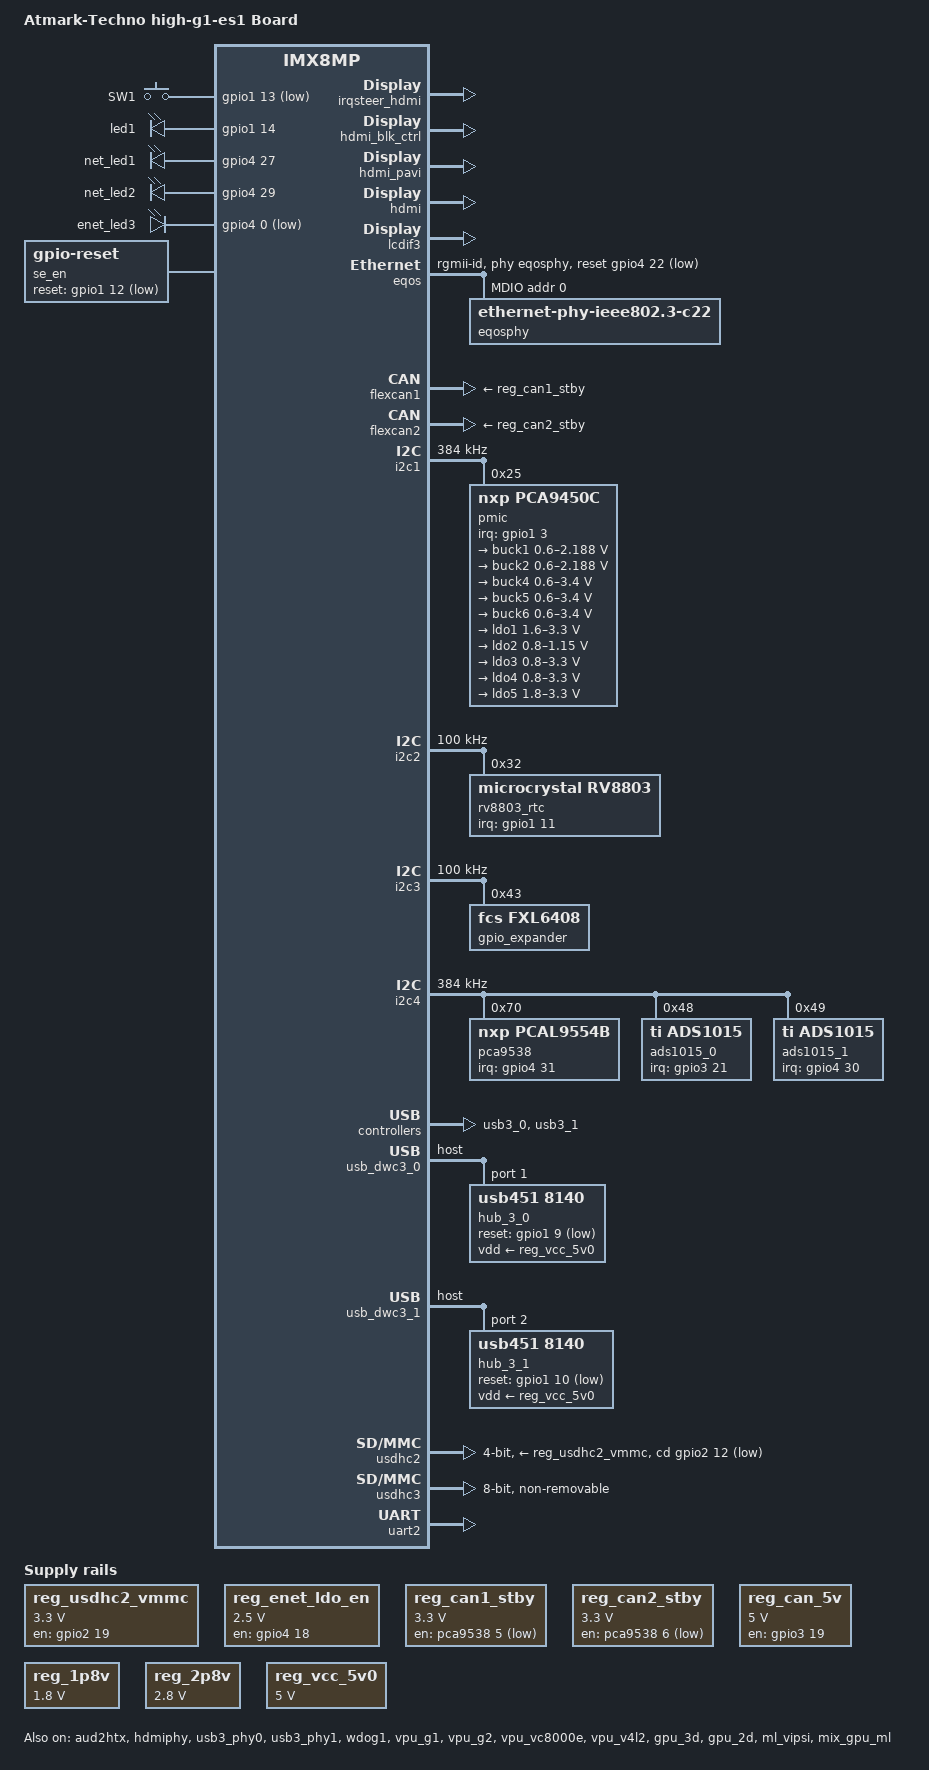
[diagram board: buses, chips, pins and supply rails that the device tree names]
// SPDX-License-Identifier: (GPL-2.0 OR MIT)
/*
 * Copyright (C) 2024 Atmark Techno, Inc. All Rights Reserved.
 */

/dts-v1/;

#include <dt-bindings/usb/pd.h>
#include <dt-bindings/net/micrel-ksz9131.h>
#include "imx8mp.dtsi"

/ {
	model = "Atmark-Techno high-g1-es1 Board";
	compatible = "atmark,high-g1-es1", "fsl,imx8mp";

	chosen {
		stdout-path = &uart2;
	};

	aliases {
		rtc0 = &rv8803_rtc;
		rtc1 = &snvs_rtc;
	};

	reg_usdhc2_vmmc: regulator-usdhc2 {
		compatible = "regulator-fixed";
		pinctrl-names = "default";
		pinctrl-0 = <&pinctrl_reg_usdhc2_vmmc>;
		regulator-name = "VSD_3V3";
		regulator-min-microvolt = <3300000>;
		regulator-max-microvolt = <3300000>;
		// ??? voltage-ranges = <1800 1800 3300 3300>;
		gpio = <&gpio2 19 GPIO_ACTIVE_HIGH>;
		enable-active-high;
		regulator-always-on;
		off-on-delay-us = <100000>;
	};

	reg_enet_ldo_en: regulator-enet-ldo-en {
		compatible = "regulator-fixed";
		pinctrl-names = "default";
		pinctrl-0 = <&pinctrl_reg_enet_ldo_en>;
		regulator-name = "ENET_LDO_EN";
		/* One GPIO controls three regulators(1.2V, 1.8V, 2.5V) */
		regulator-min-microvolt = <2500000>;
		regulator-max-microvolt = <2500000>;
		gpio = <&gpio4 18 GPIO_ACTIVE_HIGH>;
		enable-active-high;
		regulator-always-on;
	};

	reg_can1_stby: regulator-can1-stby {
		compatible = "regulator-fixed";
		regulator-name = "can1-stby";
		regulator-min-microvolt = <3300000>;
		regulator-max-microvolt = <3300000>;
		gpio = <&pca9538 5 GPIO_ACTIVE_LOW>;
	};

	reg_can2_stby: regulator-can2-stby {
		compatible = "regulator-fixed";
		regulator-name = "can2-stby";
		regulator-min-microvolt = <3300000>;
		regulator-max-microvolt = <3300000>;
		gpio = <&pca9538 6 GPIO_ACTIVE_LOW>;
	};

	reg_can_5v: regulator-can-5v {
		compatible = "regulator-fixed";
		pinctrl-names = "default";
		pinctrl-0 = <&pinctrl_reg_can_5v>;
		regulator-name = "can-5v";
		regulator-min-microvolt = <5000000>;
		regulator-max-microvolt = <5000000>;
		gpio = <&gpio3 19 GPIO_ACTIVE_HIGH>;
		enable-active-high;
		regulator-always-on;
	};

	reg_1p8v: regulator-1p8v {
		compatible = "regulator-fixed";
		regulator-name = "1P8V";
		regulator-min-microvolt = <1800000>;
		regulator-max-microvolt = <1800000>;
		regulator-always-on;
	};

	reg_2p8v: regulator-2p8v {
		compatible = "regulator-fixed";
		regulator-name = "2P8V";
		regulator-min-microvolt = <2800000>;
		regulator-max-microvolt = <2800000>;
		regulator-always-on;
	};

	reg_vcc_5v0: regulator-5v0 {
		compatible = "regulator-fixed";
		regulator-name = "VCC_5V0";
		regulator-min-microvolt = <5000000>;
		regulator-max-microvolt = <5000000>;
		regulator-always-on;
	};

	sound-hdmi {
		compatible = "fsl,imx-audio-cdnhdmi";
		model = "audio-hdmi";
		audio-cpu = <&aud2htx>;
		hdmi-out;
		constraint-rate = <44100>,
				<88200>,
				<176400>,
				<32000>,
				<48000>,
				<96000>,
				<192000>;
		status = "okay";
	};

	gpio-keys {
		compatible = "gpio-keys";
		pinctrl-names = "default";
		pinctrl-0 = <&pinctrl_gpio_keys>;

		gpio_keys_sw1: sw1 {
			label = "SW1";
			gpios = <&gpio1 13 GPIO_ACTIVE_LOW>;
			linux,code = <KEY_PROG1>;
		};
	};

	leds {
		compatible = "gpio-leds";
		pinctrl-names = "default";
		pinctrl-0 = <&pinctrl_gpio_leds>;

		led1 {
			label = "led1";
			gpios = <&gpio1 14 GPIO_ACTIVE_HIGH>;
			default-state = "on";
		};

		net_led1 {
			label = "net_led1";
			gpios = <&gpio4 27 GPIO_ACTIVE_HIGH>;
			default-state = "off";
		};

		net_led2 {
			label = "net_led2";
			gpios = <&gpio4 29 GPIO_ACTIVE_HIGH>;
			default-state = "off";
		};

		enet_led3 {
			label = "enet_led3";
			gpios = <&gpio4 0 GPIO_ACTIVE_LOW>;
			linux,default-trigger = "stmmac-1:03:1Gbps";
		};
	};

	resmem: reserved-memory {
		linux,cma {
			size = <0 0x40000000>;
			alloc-ranges = <0 0x40000000 0 0xbfffffff>;
		};
	};

	moal-params {
		host_mlme = <0x1>;
		// disable power savings
		ps_mode = <0x2>;
		auto_ds = <0x2>;
		// disable wifi direct, untested
		drv_mode = <0x3>;
		// disable mac-1 to fit power budget
		mac-1 {
			drv_mode = <0x0>;
		};

	};

	se_en: se-enable {
		compatible = "gpio-reset";
		pinctrl-names = "default";
		pinctrl-0 = <&pinctrl_se_enable>;
		reset-gpios = <&gpio1 12 GPIO_ACTIVE_LOW>;
		reset-assert-in-suspend;
	};
};

&aud2htx {
	status = "okay";
};

&irqsteer_hdmi {
	status = "okay";
};

&hdmi_blk_ctrl {
	status = "okay";
};

&hdmi_pavi {
	status = "okay";
};

&hdmi {
	status = "okay";
};

&hdmiphy {
	status = "okay";
};

&lcdif3 {
	status = "okay";

	thres-low  = <1 2>;		/* (FIFO * 1 / 2) */
	thres-high = <3 4>;		/* (FIFO * 3 / 4) */
};

&eqos {
	pinctrl-names = "default", "sleep";
	pinctrl-0 = <&pinctrl_eqos>;
	pinctrl-1 = <&pinctrl_eqos_sleep>;
	phy-mode = "rgmii-id";
	phy-handle = <&eqosphy>;
	snps,reset-gpio = <&gpio4 22 GPIO_ACTIVE_LOW>;
	snps,reset-active-low;
	snps,reset-delays-us = <0 15000 150000>; // hold reset 15ms and wait 150ms after reset for reinit
	st,disable_dma_vlhash = <1>;
	status = "okay";

	mdio {
		compatible = "snps,dwmac-mdio";
		#address-cells = <1>;
		#size-cells = <0>;
		eqosphy: eqos-phy@0 {
			compatible = "ethernet-phy-ieee802.3-c22";
			eee-broken-1000t;
			eee-broken-100tx;
			reg = <0>;

			/* marvell,reg-init = <reg-page reg mask value>; */
			marvell,reg-init =
				<3 16 0xff00 0x73>,
				<3 17 0xfff0 0xa>,
				<18 20 0xfff8 0x0>;
		};
	};
};

&flexcan1 {
	pinctrl-names = "default";
	pinctrl-0 = <&pinctrl_flexcan1>;
	xceiver-supply = <&reg_can1_stby>;
	status = "okay";
};

&flexcan2 {
	pinctrl-names = "default";
	pinctrl-0 = <&pinctrl_flexcan2>;
	xceiver-supply = <&reg_can2_stby>;
	status = "okay";
};

&i2c1 {
	clock-frequency = <384000>;
	pinctrl-names = "default";
	pinctrl-0 = <&pinctrl_i2c1>;
	status = "okay";

	pmic: pca9450@25 {
		reg = <0x25>;
		compatible = "nxp,pca9450c";
		/* PMIC PCA9450 PMIC_nINT GPIO1_IO3 */
		pinctrl-0 = <&pinctrl_pmic>;
		interrupt-parent = <&gpio1>;
		interrupts = <3 GPIO_ACTIVE_LOW>;

		regulators {
			buck1: BUCK1 {
				regulator-name = "BUCK1";
				regulator-min-microvolt = <600000>;
				regulator-max-microvolt = <2187500>;
				regulator-boot-on;
				regulator-always-on;
				regulator-ramp-delay = <3125>;
			};

			buck2: BUCK2 {
				regulator-name = "BUCK2";
				regulator-min-microvolt = <600000>;
				regulator-max-microvolt = <2187500>;
				regulator-boot-on;
				regulator-always-on;
				regulator-ramp-delay = <3125>;
				nxp,dvs-run-voltage = <950000>;
				nxp,dvs-standby-voltage = <850000>;
			};

			buck4: BUCK4 {
				regulator-name = "BUCK4";
				regulator-min-microvolt = <600000>;
				regulator-max-microvolt = <3400000>;
				regulator-boot-on;
				regulator-always-on;
			};

			buck5: BUCK5 {
				regulator-name = "BUCK5";
				regulator-min-microvolt = <600000>;
				regulator-max-microvolt = <3400000>;
				regulator-boot-on;
				regulator-always-on;
			};

			buck6: BUCK6 {
				regulator-name = "BUCK6";
				regulator-min-microvolt = <600000>;
				regulator-max-microvolt = <3400000>;
				regulator-boot-on;
				regulator-always-on;
			};

			ldo1: LDO1 {
				regulator-name = "LDO1";
				regulator-min-microvolt = <1600000>;
				regulator-max-microvolt = <3300000>;
				regulator-boot-on;
				regulator-always-on;
			};

			ldo2: LDO2 {
				regulator-name = "LDO2";
				regulator-min-microvolt = <800000>;
				regulator-max-microvolt = <1150000>;
				regulator-boot-on;
				regulator-always-on;
			};

			ldo3: LDO3 {
				regulator-name = "LDO3";
				regulator-min-microvolt = <800000>;
				regulator-max-microvolt = <3300000>;
				regulator-boot-on;
				regulator-always-on;
			};

			ldo4: LDO4 {
				regulator-name = "LDO4";
				regulator-min-microvolt = <800000>;
				regulator-max-microvolt = <3300000>;
				regulator-boot-on;
				regulator-always-on;
			};

			ldo5: LDO5 {
				regulator-name = "LDO5";
				regulator-min-microvolt = <1800000>;
				regulator-max-microvolt = <3300000>;
				regulator-boot-on;
				regulator-always-on;
			};
		};
	};
};

&i2c2 {
	clock-frequency = <100000>;
	pinctrl-names = "default";
	pinctrl-0 = <&pinctrl_i2c2>;
	status = "okay";

	rv8803_rtc: rtc@32 {
		pinctrl-names = "default";
		pinctrl-0 = <&pinctrl_rtc_gpio>;

		compatible = "microcrystal,rv8803";
		reg = <0x32>;
		interrupt-parent = <&gpio1>;
		interrupts = <11 GPIO_ACTIVE_LOW>;
		wakeup-source;
	};
};

&i2c3 {
	clock-frequency = <100000>;
	pinctrl-names = "default";
	pinctrl-0 = <&pinctrl_i2c3>;
	status = "okay";

	gpio_expander: gpio@43 {
		gpio-controller;
		#gpio-cells = <2>;
		compatible = "fcs,fxl6408";
		reg = <0x43>;
	};
};

&i2c4 {
	clock-frequency = <384000>;
	pinctrl-names = "default";
	pinctrl-0 = <&pinctrl_i2c4>;
	status = "okay";

	pca9538: gpio@70 {
		compatible = "nxp,pcal9554b";
		reg = <0x70>;
		gpio-controller;
		pinctrl-names = "default";
		pinctrl-0 = <&pinctrl_pca9538>;
		interrupt-parent = <&gpio4>;
		interrupts = <31 IRQ_TYPE_EDGE_FALLING>;
		#gpio-cells = <2>;
		wakeup-source;
	};

	ads1015_0: adc@48 {
		compatible = "ti,ads1015";
		reg = <0x48>;
		pinctrl-names = "default";
		pinctrl-0 = <&pinctrl_ads1015_0>;
		interrupts-extended = <&gpio3 21 IRQ_TYPE_LEVEL_LOW>;
		#address-cells = <1>;
		#size-cells = <0>;

		channel@4 {
			reg = <4>;
			ti,gain = <0>; /* +/- 6.144 V */
			ti,datarate = <6>; /* 3300 SPS */
		};
	};

	ads1015_1: adc@49 {
		compatible = "ti,ads1015";
		reg = <0x49>;
		pinctrl-names = "default";
		pinctrl-0 = <&pinctrl_ads1015_1>;
		interrupts-extended = <&gpio4 30 IRQ_TYPE_LEVEL_LOW>;
		#address-cells = <1>;
		#size-cells = <0>;

		channel@4 {
			reg = <4>;
			ti,gain = <0>;
			ti,datarate = <6>;
		};
	};
};

&sdma2 {
	status = "okay";
};

&usb3_phy0 {
	fsl,phy-tx-preemp-amp-tune = <0x3>;

	status = "okay";
};

&usb3_0 {
	status = "okay";
};

&usb_dwc3_0 {
	dr_mode = "host";
	#address-cells = <1>;
	#size-cells = <0>;
	pinctrl-names = "default";
	pinctrl-0 = <&pinctrl_usbhub0>;
	status = "okay";

	hub_3_0: hub@1 {
		compatible = "usb451,8140";
		reg = <1>;
		reset-gpios = <&gpio1 9 GPIO_ACTIVE_LOW>;
		vdd-supply = <&reg_vcc_5v0>;
	};
};

&usb3_phy1 {
	status = "okay";
};

&usb3_1 {
	status = "okay";
};

&usb_dwc3_1 {
	dr_mode = "host";
	#address-cells = <1>;
	#size-cells = <0>;
	pinctrl-names = "default";
	pinctrl-0 = <&pinctrl_usbhub1>;
	status = "okay";

	hub_3_1: hub@2 {
		compatible = "usb451,8140";
		reg = <2>;
		reset-gpios = <&gpio1 10 GPIO_ACTIVE_LOW>;
		vdd-supply = <&reg_vcc_5v0>;
	};
};

&usdhc2 {
	assigned-clocks = <&clk IMX8MP_CLK_USDHC2>;
	assigned-clock-rates = <400000000>;
	pinctrl-names = "default", "state_100mhz", "state_200mhz", "sleep";
	pinctrl-0 = <&pinctrl_usdhc2>, <&pinctrl_usdhc2_gpio>;
	pinctrl-1 = <&pinctrl_usdhc2_100mhz>, <&pinctrl_usdhc2_gpio>;
	pinctrl-2 = <&pinctrl_usdhc2_200mhz>, <&pinctrl_usdhc2_gpio>;
	pinctrl-3 = <&pinctrl_usdhc2_sleep>, <&pinctrl_usdhc2_gpio>;
	cd-gpios = <&gpio2 12 GPIO_ACTIVE_LOW>;
	vmmc-supply = <&reg_usdhc2_vmmc>;
	bus-width = <4>;
	/* SDR50/104 is not supported in order to comply with the VCCI
	 * Class B Compliance (RF leakage at 1GHz when used in some case)
	 */
	sdhci-caps-mask = <0x3 0x0>;
	status = "okay";
};

&usdhc3 {
	assigned-clocks = <&clk IMX8MP_CLK_USDHC3>;
	assigned-clock-rates = <400000000>;
	pinctrl-names = "default", "state_100mhz", "state_200mhz", "sleep";
	pinctrl-0 = <&pinctrl_usdhc3>;
	pinctrl-1 = <&pinctrl_usdhc3_100mhz>;
	pinctrl-2 = <&pinctrl_usdhc3_200mhz>;
	pinctrl-3 = <&pinctrl_usdhc3_sleep>;
	bus-width = <8>;
	non-removable;
	status = "okay";
};

&uart2 {
	pinctrl-names = "default";
	pinctrl-0 = <&pinctrl_uart2>;
	status = "okay";
};

&wdog1 {
	pinctrl-names = "default";
	pinctrl-0 = <&pinctrl_wdog>;
	fsl,ext-reset-output;
	status = "okay";
};

&iomuxc {
	pinctrl-names = "default";
	pinctrl-0 = <
		&pinctrl_hog
		&pinctrl_expansion_interfacehog
		&pinctrl_customize
	>;

	pinctrl_hog: hoggrp {
		fsl,pins = <
			MX8MP_IOMUXC_HDMI_DDC_SCL__HDMIMIX_HDMI_SCL	0x40000034
			MX8MP_IOMUXC_HDMI_DDC_SDA__HDMIMIX_HDMI_SDA	0x40000034
			MX8MP_IOMUXC_HDMI_HPD__HDMIMIX_HDMI_HPD		0x40000034
			MX8MP_IOMUXC_HDMI_CEC__HDMIMIX_HDMI_CEC		0x40000034
		>;
	};

	pinctrl_expansion_interfacehog: expansion_interfacehoggrp {
		/* this group left empty for at-dtweb expansion GPIOs */
	};

	pinctrl_customize: customizegrp {
		/* empty group defined for easier customizing: override this for your pin configurations */
	};

	/* Memo for pinctrl config:
	 * 0x2/6 = stronger driving field
	 *  0x10 = fast slew rate
	 *  0x20 = open drain enable
	 *  0x40 = pull up
	 *  0x80 = schmitt trigger input
	 * 0x100 = pull enable
	 * 0x40000000 = SION enable
	 *
	 * SION = able to get input value of gpio regardless its mux setting
	 */
	pinctrl_eqos: eqosgrp {
		fsl,pins = <
			MX8MP_IOMUXC_ENET_MDC__ENET_QOS_MDC		0x2
			MX8MP_IOMUXC_ENET_MDIO__ENET_QOS_MDIO		0x2
			MX8MP_IOMUXC_ENET_RD0__ENET_QOS_RGMII_RD0	0x6
			MX8MP_IOMUXC_ENET_RD1__ENET_QOS_RGMII_RD1	0x6
			MX8MP_IOMUXC_ENET_RD2__ENET_QOS_RGMII_RD2	0x6
			MX8MP_IOMUXC_ENET_RD3__ENET_QOS_RGMII_RD3	0x6
			MX8MP_IOMUXC_ENET_RXC__CCM_ENET_QOS_CLOCK_GENERATE_RX_CLK	0x106
			MX8MP_IOMUXC_ENET_RX_CTL__ENET_QOS_RGMII_RX_CTL	0x106
			MX8MP_IOMUXC_ENET_TD0__ENET_QOS_RGMII_TD0	0x142
			MX8MP_IOMUXC_ENET_TD1__ENET_QOS_RGMII_TD1	0x142
			MX8MP_IOMUXC_ENET_TD2__ENET_QOS_RGMII_TD2	0x142
			MX8MP_IOMUXC_ENET_TD3__ENET_QOS_RGMII_TD3	0x142
			MX8MP_IOMUXC_ENET_TX_CTL__ENET_QOS_RGMII_TX_CTL	0x142
			MX8MP_IOMUXC_ENET_TXC__CCM_ENET_QOS_CLOCK_GENERATE_TX_CLK	0x142
			MX8MP_IOMUXC_SAI2_RXC__GPIO4_IO22		0x152 // RST
			MX8MP_IOMUXC_SAI1_RXFS__GPIO4_IO00		0x152 // ENET_LED3
		>;
	};

	pinctrl_eqos_sleep: eqosslpgrp {
		fsl,pins = <
			MX8MP_IOMUXC_ENET_MDC__GPIO1_IO16	0x101
			MX8MP_IOMUXC_ENET_MDIO__GPIO1_IO17	0x41
			MX8MP_IOMUXC_ENET_RD0__GPIO1_IO26	0x101
			MX8MP_IOMUXC_ENET_RD1__GPIO1_IO27	0x101
			MX8MP_IOMUXC_ENET_RD2__GPIO1_IO28	0x101
			MX8MP_IOMUXC_ENET_RD3__GPIO1_IO29	0x101
			MX8MP_IOMUXC_ENET_RXC__GPIO1_IO25	0x101
			MX8MP_IOMUXC_ENET_RX_CTL__GPIO1_IO24	0x101
			MX8MP_IOMUXC_ENET_TD0__GPIO1_IO21	0x101
			MX8MP_IOMUXC_ENET_TD1__GPIO1_IO20	0x101
			MX8MP_IOMUXC_ENET_TD2__GPIO1_IO19	0x101
			MX8MP_IOMUXC_ENET_TD3__GPIO1_IO18	0x101
			MX8MP_IOMUXC_ENET_TX_CTL__GPIO1_IO22	0x101
			MX8MP_IOMUXC_ENET_TXC__GPIO1_IO23	0x101
			MX8MP_IOMUXC_SAI2_RXC__GPIO4_IO22	0x152 // RST
		>;
	};

	pinctrl_pca9538: pca9538grp {
		fsl,pins = <
			MX8MP_IOMUXC_SAI3_TXFS__GPIO4_IO31	0x140 /* EXPANDER_INT */
		>;
	};

	pinctrl_flexcan1: flexcan1grp {
		fsl,pins = <
			MX8MP_IOMUXC_SAI5_RXD1__CAN1_TX		0x154 /* FLEXCAN1_TX */
			MX8MP_IOMUXC_SAI5_RXD2__CAN1_RX		0x154 /* FLEXCAN1_RX */
		>;
	};

	pinctrl_flexcan2: flexcan2grp {
		fsl,pins = <
			MX8MP_IOMUXC_SAI5_RXD3__CAN2_TX		0x154 /* FLEXCAN2_TX */
			MX8MP_IOMUXC_SAI5_MCLK__CAN2_RX		0x154 /* FLEXCAN2_RX */
		>;
	};

	pinctrl_i2c1: i2c1grp {
		fsl,pins = <
			MX8MP_IOMUXC_I2C1_SCL__I2C1_SCL		0x400000e2
			MX8MP_IOMUXC_I2C1_SDA__I2C1_SDA		0x400000e2
		>;
	};

	pinctrl_i2c2: i2c2grp {
		fsl,pins = <
			MX8MP_IOMUXC_I2C2_SCL__I2C2_SCL			0x400000e2
			MX8MP_IOMUXC_I2C2_SDA__I2C2_SDA			0x400000e2
		>;
	};

	pinctrl_i2c3: i2c3grp {
		fsl,pins = <
			MX8MP_IOMUXC_I2C3_SCL__I2C3_SCL			0x400000e2
			MX8MP_IOMUXC_I2C3_SDA__I2C3_SDA			0x400000e2
		>;
	};

	pinctrl_i2c4: i2c4grp {
		fsl,pins = <
			MX8MP_IOMUXC_I2C4_SCL__I2C4_SCL			0x400000e2
			MX8MP_IOMUXC_I2C4_SDA__I2C4_SDA			0x400000e2
		>;
	};

	pinctrl_gpio_keys: gpio_keys {
		fsl,pins = <
			MX8MP_IOMUXC_GPIO1_IO13__GPIO1_IO13	0x400001c0 /* SW1 */
		>;
	};

	pinctrl_gpio_leds: gpio_leds {
		fsl,pins = <
			MX8MP_IOMUXC_GPIO1_IO14__GPIO1_IO14	0x152 /* led1 */
			MX8MP_IOMUXC_SAI2_MCLK__GPIO4_IO27	0x152 /* NET_LED1 */
			MX8MP_IOMUXC_SAI3_RXC__GPIO4_IO29	0x152 /* NET_LED2 */
		>;
	};

	pinctrl_pmic: pmicirq {
		fsl,pins = <
			MX8MP_IOMUXC_GPIO1_IO03__GPIO1_IO03	0x141
		>;
	};

	pinctrl_rtc_gpio: rtc_gpio {
		fsl,pins = <
			MX8MP_IOMUXC_GPIO1_IO11__GPIO1_IO11	0x40000140
		>;
	};

	pinctrl_reg_usdhc2_vmmc: regusdhc2vmmcgrp {
		fsl,pins = <
			MX8MP_IOMUXC_SD2_RESET_B__GPIO2_IO19	0x41
		>;
	};

	pinctrl_usbhub0: usbhub0grp {
		fsl,pins = <
			MX8MP_IOMUXC_GPIO1_IO09__GPIO1_IO09	0x1c4 /* USB1_HUB_RST */
		>;
	};

	pinctrl_usbhub1: usbhub1grp {
		fsl,pins = <
			MX8MP_IOMUXC_GPIO1_IO10__GPIO1_IO10	0x1c4 /* USB2_HUB_RST */
		>;
	};

	pinctrl_usdhc2_gpio: usdhc2grp-gpio {
		fsl,pins = <
			MX8MP_IOMUXC_SD2_CD_B__GPIO2_IO12	0x1c4
		>;
	};

	pinctrl_usdhc2: usdhc2grp {
		fsl,pins = <
			MX8MP_IOMUXC_SD2_CLK__USDHC2_CLK	0x190
			MX8MP_IOMUXC_SD2_CMD__USDHC2_CMD	0x1d0
			MX8MP_IOMUXC_SD2_DATA0__USDHC2_DATA0	0x1d0
			MX8MP_IOMUXC_SD2_DATA1__USDHC2_DATA1	0x1d0
			MX8MP_IOMUXC_SD2_DATA2__USDHC2_DATA2	0x1d0
			MX8MP_IOMUXC_SD2_DATA3__USDHC2_DATA3	0x1d0
			MX8MP_IOMUXC_GPIO1_IO04__USDHC2_VSELECT	0xc1
		>;
	};

	pinctrl_usdhc2_100mhz: usdhc2grp-100mhz {
		fsl,pins = <
			MX8MP_IOMUXC_SD2_CLK__USDHC2_CLK	0x190
			MX8MP_IOMUXC_SD2_CMD__USDHC2_CMD	0x1d0
			MX8MP_IOMUXC_SD2_DATA0__USDHC2_DATA0	0x1d0
			MX8MP_IOMUXC_SD2_DATA1__USDHC2_DATA1	0x1d0
			MX8MP_IOMUXC_SD2_DATA2__USDHC2_DATA2	0x1d0
			MX8MP_IOMUXC_SD2_DATA3__USDHC2_DATA3	0x1d0
			MX8MP_IOMUXC_GPIO1_IO04__USDHC2_VSELECT 0xc1
		>;
	};

	pinctrl_usdhc2_200mhz: usdhc2grp-200mhz {
		fsl,pins = <
			MX8MP_IOMUXC_SD2_CLK__USDHC2_CLK	0x196
			MX8MP_IOMUXC_SD2_CMD__USDHC2_CMD	0x1d4
			MX8MP_IOMUXC_SD2_DATA0__USDHC2_DATA0	0x1d4
			MX8MP_IOMUXC_SD2_DATA1__USDHC2_DATA1	0x1d4
			MX8MP_IOMUXC_SD2_DATA2__USDHC2_DATA2	0x1d4
			MX8MP_IOMUXC_SD2_DATA3__USDHC2_DATA3	0x1d4
			MX8MP_IOMUXC_GPIO1_IO04__USDHC2_VSELECT 0xc1
		>;
	};

	pinctrl_usdhc2_sleep: usdhc2grp-sleep {
		fsl,pins = <
			MX8MP_IOMUXC_SD2_CLK__GPIO2_IO13	0x41
			MX8MP_IOMUXC_SD2_CMD__GPIO2_IO14	0x41
			MX8MP_IOMUXC_SD2_DATA0__GPIO2_IO15	0x41
			MX8MP_IOMUXC_SD2_DATA1__GPIO2_IO16	0x41
			MX8MP_IOMUXC_SD2_DATA2__GPIO2_IO17	0x41
			MX8MP_IOMUXC_SD2_DATA3__GPIO2_IO18	0x41
			MX8MP_IOMUXC_GPIO1_IO04__USDHC2_VSELECT 0xc1
		>;
	};

	pinctrl_usdhc3: usdhc3grp {
		fsl,pins = <
			MX8MP_IOMUXC_NAND_WE_B__USDHC3_CLK		0x190
			MX8MP_IOMUXC_NAND_WP_B__USDHC3_CMD		0x1d0
			MX8MP_IOMUXC_NAND_DATA04__USDHC3_DATA0		0x1d0
			MX8MP_IOMUXC_NAND_DATA05__USDHC3_DATA1		0x1d0
			MX8MP_IOMUXC_NAND_DATA06__USDHC3_DATA2		0x1d0
			MX8MP_IOMUXC_NAND_DATA07__USDHC3_DATA3		0x1d0
			MX8MP_IOMUXC_NAND_RE_B__USDHC3_DATA4		0x1d0
			MX8MP_IOMUXC_NAND_CE2_B__USDHC3_DATA5		0x1d0
			MX8MP_IOMUXC_NAND_CE3_B__USDHC3_DATA6		0x1d0
			MX8MP_IOMUXC_NAND_CLE__USDHC3_DATA7		0x1d0
			MX8MP_IOMUXC_NAND_CE1_B__USDHC3_STROBE		0x190
			MX8MP_IOMUXC_NAND_READY_B__USDHC3_RESET_B	0x190
		>;
	};

	pinctrl_usdhc3_100mhz: usdhc3grp-100mhz {
		fsl,pins = <
			MX8MP_IOMUXC_NAND_WE_B__USDHC3_CLK		0x194
			MX8MP_IOMUXC_NAND_WP_B__USDHC3_CMD		0x1d4
			MX8MP_IOMUXC_NAND_DATA04__USDHC3_DATA0		0x1d4
			MX8MP_IOMUXC_NAND_DATA05__USDHC3_DATA1		0x1d4
			MX8MP_IOMUXC_NAND_DATA06__USDHC3_DATA2		0x1d4
			MX8MP_IOMUXC_NAND_DATA07__USDHC3_DATA3		0x1d4
			MX8MP_IOMUXC_NAND_RE_B__USDHC3_DATA4		0x1d4
			MX8MP_IOMUXC_NAND_CE2_B__USDHC3_DATA5		0x1d4
			MX8MP_IOMUXC_NAND_CE3_B__USDHC3_DATA6		0x1d4
			MX8MP_IOMUXC_NAND_CLE__USDHC3_DATA7		0x1d4
			MX8MP_IOMUXC_NAND_CE1_B__USDHC3_STROBE		0x194
			MX8MP_IOMUXC_NAND_READY_B__USDHC3_RESET_B	0x194
		>;
	};

	pinctrl_usdhc3_200mhz: usdhc3grp-200mhz {
		fsl,pins = <
			MX8MP_IOMUXC_NAND_WE_B__USDHC3_CLK		0x194
			MX8MP_IOMUXC_NAND_WP_B__USDHC3_CMD		0x1d4
			MX8MP_IOMUXC_NAND_DATA04__USDHC3_DATA0		0x1d4
			MX8MP_IOMUXC_NAND_DATA05__USDHC3_DATA1		0x1d4
			MX8MP_IOMUXC_NAND_DATA06__USDHC3_DATA2		0x1d4
			MX8MP_IOMUXC_NAND_DATA07__USDHC3_DATA3		0x1d4
			MX8MP_IOMUXC_NAND_RE_B__USDHC3_DATA4		0x1d4
			MX8MP_IOMUXC_NAND_CE2_B__USDHC3_DATA5		0x1d4
			MX8MP_IOMUXC_NAND_CE3_B__USDHC3_DATA6		0x1d4
			MX8MP_IOMUXC_NAND_CLE__USDHC3_DATA7		0x1d4
			MX8MP_IOMUXC_NAND_CE1_B__USDHC3_STROBE		0x194
			MX8MP_IOMUXC_NAND_READY_B__USDHC3_RESET_B	0x194

		>;
	};

	pinctrl_usdhc3_sleep: usdhc3grp-sleep {
		fsl,pins = <
			MX8MP_IOMUXC_NAND_WE_B__USDHC3_CLK		0x41
			MX8MP_IOMUXC_NAND_WP_B__USDHC3_CMD		0x41
			MX8MP_IOMUXC_NAND_DATA04__USDHC3_DATA0		0x41
			MX8MP_IOMUXC_NAND_DATA05__USDHC3_DATA1		0x41
			MX8MP_IOMUXC_NAND_DATA06__USDHC3_DATA2		0x41
			MX8MP_IOMUXC_NAND_DATA07__USDHC3_DATA3		0x41
			MX8MP_IOMUXC_NAND_RE_B__USDHC3_DATA4		0x41
			MX8MP_IOMUXC_NAND_CE2_B__USDHC3_DATA5		0x41
			MX8MP_IOMUXC_NAND_CE3_B__USDHC3_DATA6		0x41
			MX8MP_IOMUXC_NAND_CLE__USDHC3_DATA7		0x41
			MX8MP_IOMUXC_NAND_CE1_B__USDHC3_STROBE		0x41
			MX8MP_IOMUXC_NAND_READY_B__USDHC3_RESET_B	0x191

		>;
	};

	pinctrl_uart2: uart2grp {
		fsl,pins = <
			MX8MP_IOMUXC_UART2_RXD__UART2_DCE_RX	0x49
			MX8MP_IOMUXC_UART2_TXD__UART2_DCE_TX	0x49
		>;
	};

	pinctrl_reg_can_5v: reg-can-5vgrp {
		fsl,pins = <
			MX8MP_IOMUXC_SAI5_RXFS__GPIO3_IO19	0x140 /* CAN_POWER_EN */
		>;
	};

	pinctrl_reg_enet_ldo_en: reg-enet-ldo-engrp {
		fsl,pins = <
			MX8MP_IOMUXC_SAI1_TXD6__GPIO4_IO18	0x41
		>;
	};

	pinctrl_wdog: wdoggrp {
		fsl,pins = <
			MX8MP_IOMUXC_GPIO1_IO02__WDOG1_WDOG_B	0xc6
		>;
	};

	pinctrl_se_enable: seenablegrp {
		fsl,pins = <
			MX8MP_IOMUXC_GPIO1_IO12__GPIO1_IO12		0x0
		>;
	};

	pinctrl_ads1015_0: ads1015_0grp {
		fsl,pins = <
			MX8MP_IOMUXC_SAI5_RXD0__GPIO3_IO21	0x140 /* ADC_INT1 */
		>;
	};

	pinctrl_ads1015_1: ads1015_1grp {
		fsl,pins = <
			MX8MP_IOMUXC_SAI3_RXD__GPIO4_IO30	0x140 /* ADC_INT2 */
		>;
	};
};

&vpu_g1 {
	status = "okay";
};

&vpu_g2 {
	status = "okay";
};

&vpu_vc8000e {
	status = "okay";
};

&vpu_v4l2 {
	status = "okay";
};

&gpu_3d {
	status = "okay";
};

&gpu_2d {
	status = "okay";
};

&ml_vipsi {
	status = "okay";
};

&mix_gpu_ml {
	status = "okay";
};

&A53_0 {
	cpu-supply = <&buck2>;
};

&A53_1 {
	cpu-supply = <&buck2>;
};

&A53_2 {
	cpu-supply = <&buck2>;
};

&A53_3 {
	cpu-supply = <&buck2>;
};

&cpu_alert0 {
	temperature = <105000>;
};

&cpu_crit0 {
	temperature = <105000>;
};

&soc_alert0 {
	temperature = <105000>;
};

&soc_crit0 {
	temperature = <105000>;
};
